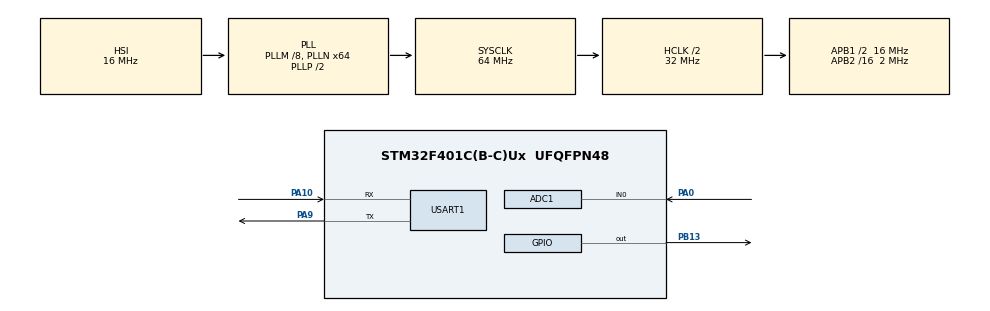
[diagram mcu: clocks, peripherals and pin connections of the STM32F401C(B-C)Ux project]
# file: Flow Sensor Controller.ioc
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ADC1.Channel-3\#ChannelRegularConversion=ADC_CHANNEL_0
ADC1.ContinuousConvMode=ENABLE
ADC1.DMAContinuousRequests=ENABLE
ADC1.NbrOfConversionFlag=1
ADC1.Rank-3\#ChannelRegularConversion=1
ADC1.SamplingTime-3\#ChannelRegularConversion=ADC_SAMPLETIME_28CYCLES
ADC1.master=1
Dma.ADC1.0.Direction=DMA_PERIPH_TO_MEMORY
Dma.ADC1.0.FIFOMode=DMA_FIFOMODE_DISABLE
Dma.ADC1.0.Instance=DMA2_Stream0
Dma.ADC1.0.MemDataAlignment=DMA_MDATAALIGN_WORD
Dma.ADC1.0.MemInc=DMA_MINC_ENABLE
Dma.ADC1.0.Mode=DMA_CIRCULAR
Dma.ADC1.0.PeriphDataAlignment=DMA_PDATAALIGN_WORD
Dma.ADC1.0.PeriphInc=DMA_PINC_DISABLE
Dma.ADC1.0.Priority=DMA_PRIORITY_LOW
Dma.Request0=ADC1
Mcu.Family=STM32F4
Mcu.Name=STM32F401C(B-C)Ux
Mcu.Package=UFQFPN48
NVIC.ADC_IRQn=true\:0\:0\:false\:false\:true\:true\:true\:true
NVIC.DMA2_Stream0_IRQn=true\:0\:0\:false\:false\:true\:false\:true\:true
NVIC.PriorityGroup=NVIC_PRIORITYGROUP_4
PA0-WKUP.Signal=ADCx_IN0
PA10.Mode=Asynchronous
PA10.Signal=USART1_RX
PA13.Mode=Serial_Wire
PA13.Signal=SYS_JTMS-SWDIO
PA14.Mode=Serial_Wire
PA14.Signal=SYS_JTCK-SWCLK
PA9.Mode=Asynchronous
PA9.Signal=USART1_TX
PB13.Signal=GPIO_Output
PH0\ -\ OSC_IN.Mode=HSE-External-Oscillator
PH0\ -\ OSC_IN.Signal=RCC_OSC_IN
PH1\ -\ OSC_OUT.Mode=HSE-External-Oscillator
PH1\ -\ OSC_OUT.Signal=RCC_OSC_OUT
ProjectManager.HeapSize=0x200
ProjectManager.StackSize=0x400
ProjectManager.TargetToolchain=STM32CubeIDE
RCC.48MHZClocksFreq_Value=32000000
RCC.AHBCLKDivider=RCC_SYSCLK_DIV2
RCC.AHBFreq_Value=32000000
RCC.APB1CLKDivider=RCC_HCLK_DIV2
RCC.APB1Freq_Value=16000000
RCC.APB1TimFreq_Value=32000000
RCC.APB2CLKDivider=RCC_HCLK_DIV16
RCC.APB2Freq_Value=2000000
RCC.APB2TimFreq_Value=4000000
RCC.CortexFreq_Value=32000000
RCC.HCLKFreq_Value=32000000
RCC.HSE_VALUE=25000000
RCC.HSI_VALUE=16000000
RCC.LSE_VALUE=32768
RCC.PLLM=8
RCC.PLLN=64
RCC.SYSCLKFreq_VALUE=64000000
RCC.SYSCLKSource=RCC_SYSCLKSOURCE_PLLCLK
RCC.VCOOutputFreq_Value=128000000
SH.ADCx_IN0.0=ADC1_IN0,IN0
USART1.VirtualMode=VM_ASYNC
board=custom

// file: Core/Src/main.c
/* USER CODE BEGIN Header */

/* ----------------------------------------------------------------------
* Copyright (C) 2010-2012 ARM Limited. All rights reserved.
*
* $Date:         17. January 2013
* $Revision:     V1.4.0
*
* Project:       CMSIS DSP Library
* Title:	     arm_fft_bin_example_f32.c
*
* Description:   Example code demonstrating calculation of Max energy bin of
*                frequency domain of input signal.
*
* Target Processor: Cortex-M4/Cortex-M3
*
* Redistribution and use in source and binary forms, with or without
* modification, are permitted provided that the following conditions
* are met:
*   - Redistributions of source code must retain the above copyright
*     notice, this list of conditions and the following disclaimer.
*   - Redistributions in binary form must reproduce the above copyright
*     notice, this list of conditions and the following disclaimer in
*     the documentation and/or other materials provided with the
*     distribution.
*   - Neither the name of ARM LIMITED nor the names of its contributors
*     may be used to endorse or promote products derived from this
*     software without specific prior written permission.
*
* THIS SOFTWARE IS PROVIDED BY THE COPYRIGHT HOLDERS AND CONTRIBUTORS
* "AS IS" AND ANY EXPRESS OR IMPLIED WARRANTIES, INCLUDING, BUT NOT
* LIMITED TO, THE IMPLIED WARRANTIES OF MERCHANTABILITY AND FITNESS
* FOR A PARTICULAR PURPOSE ARE DISCLAIMED. IN NO EVENT SHALL THE
* COPYRIGHT OWNER OR CONTRIBUTORS BE LIABLE FOR ANY DIRECT, INDIRECT,
* INCIDENTAL, SPECIAL, EXEMPLARY, OR CONSEQUENTIAL DAMAGES (INCLUDING,
* BUT NOT LIMITED TO, PROCUREMENT OF SUBSTITUTE GOODS OR SERVICES;
* LOSS OF USE, DATA, OR PROFITS; OR BUSINESS INTERRUPTION) HOWEVER
* CAUSED AND ON ANY THEORY OF LIABILITY, WHETHER IN CONTRACT, STRICT
* LIABILITY, OR TORT (INCLUDING NEGLIGENCE OR OTHERWISE) ARISING IN
* ANY WAY OUT OF THE USE OF THIS SOFTWARE, EVEN IF ADVISED OF THE
* POSSIBILITY OF SUCH DAMAGE.
 * -------------------------------------------------------------------- */

/**
  ******************************************************************************
  * @file           : main.c
  * @brief          : Main program body
  ******************************************************************************
  * @attention
  *
  * <h2><center>&copy; Copyright (c) 2022 STMicroelectronics.
  * All rights reserved.</center></h2>
  *
  * This software component is licensed by ST under BSD 3-Clause license,
  * the "License"; You may not use this file except in compliance with the
  * License. You may obtain a copy of the License at:
  *                        opensource.org/licenses/BSD-3-Clause
  *
  ******************************************************************************
  */

/**
 * @ingroup groupExamples
 */

/**
 * @defgroup FrequencyBin Frequency Bin Example
 *
 * \par Description
 * \par
 * Demonstrates the calculation of the maximum energy bin in the frequency
 * domain of the input signal with the use of Complex FFT, Complex
 * Magnitude, and Maximum functions.
 *
 * \par Algorithm:
 * \par
 * The input test signal contains a 10 kHz signal with uniformly distributed white noise.
 * Calculating the FFT of the input signal will give us the maximum energy of the
 * bin corresponding to the input frequency of 10 kHz.
 *
 * \par Block Diagram:
 * \image html FFTBin.gif "Block Diagram"
 * \par
 * The figure below shows the time domain signal of 10 kHz signal with
 * uniformly distributed white noise, and the next figure shows the input
 * in the frequency domain. The bin with maximum energy corresponds to 10 kHz signal.
 * \par
 * \image html FFTBinInput.gif "Input signal in Time domain"
 * \image html FFTBinOutput.gif "Input signal in Frequency domain"
 *
 * \par Variables Description:
 * \par
 * \li \c testInput_f32_10khz points to the input data
 * \li \c testOutput points to the output data
 * \li \c fftSize length of FFT
 * \li \c ifftFlag flag for the selection of CFFT/CIFFT
 * \li \c doBitReverse Flag for selection of normal order or bit reversed order
 * \li \c refIndex reference index value at which maximum energy of bin ocuurs
 * \li \c testIndex calculated index value at which maximum energy of bin ocuurs
 *
 * \par CMSIS DSP Software Library Functions Used:
 * \par
 * - arm_cfft_f32()
 * - arm_cmplx_mag_f32()
 * - arm_max_f32()
 *
 * <b> Refer  </b>
 * \link arm_fft_bin_example_f32.c \endlink
 *
 */
/* USER CODE END Header */
#include "main.h"
#include "adc.h"
#include "dma.h"
#include "usart.h"
#include "gpio.h"

/* USER CODE BEGIN Includes */
#include "arm_math.h"
#include "arm_const_structs.h"
#include <stdio.h>

#if defined(SEMIHOSTING)
#include <stdio.h>
#endif

/* USER CODE END Includes */

/* USER CODE BEGIN PD */
#define TEST_LENGTH_SAMPLES 2048
/* USER CODE END PD */

/* USER CODE BEGIN PV */
uint32_t adc_buf[2048];

extern float32_t testInput_f32_10khz[TEST_LENGTH_SAMPLES];
extern float32_t fftInput_f32_adc1[TEST_LENGTH_SAMPLES];
//static float32_t testOutput[TEST_LENGTH_SAMPLES/2];
static float32_t complexFFT[TEST_LENGTH_SAMPLES], realFFT[TEST_LENGTH_SAMPLES/2],
		imagFFT[TEST_LENGTH_SAMPLES/2], angleFFT[TEST_LENGTH_SAMPLES/2],
		powerFFT[TEST_LENGTH_SAMPLES/2], magFFT[TEST_LENGTH_SAMPLES/2];

//Global variables for FFT Bin Example
uint32_t fftSize = TEST_LENGTH_SAMPLES;
uint32_t ifftFlag = 0;
arm_rfft_fast_instance_f32 S;
uint32_t maxIndex = 0;
arm_status status;
float32_t maxValue;
int i;
uint8_t txDone = 1;

/* -------------------------------------------------------------------
* External Input and Output buffer Declarations for FFT Bin Example
* ------------------------------------------------------------------- */
extern float32_t testInput_f32_10khz[TEST_LENGTH_SAMPLES];
static float32_t testOutput[TEST_LENGTH_SAMPLES/2];

float32_t fftInput_f32_adc1[TEST_LENGTH_SAMPLES];
static float32_t fftOutput[TEST_LENGTH_SAMPLES/2];

/* USER CODE END PV */

void SystemClock_Config(void);

int main(void)
{

  /* MCU Configuration--------------------------------------------------------*/

  /* Reset of all peripherals, Initializes the Flash interface and the Systick. */
  HAL_Init();

  /* USER CODE BEGIN Init */
  MX_USART1_UART_Init();
  /* USER CODE END Init */

  /* Configure the system clock */
  SystemClock_Config();

  /* Initialize all configured peripherals */
  MX_GPIO_Init();
  MX_USART1_UART_Init();
  MX_DMA_Init();
  MX_ADC1_Init();
  /* USER CODE BEGIN 2 */
  HAL_ADC_Start_DMA(&hadc1, (uint32_t*)adc_buf, 2048);
  /* USER CODE END 2 */

  /* Infinite loop */
  while (1)
  {

    /* USER CODE BEGIN 3 */
	  if (txDone == 0) {
		  for (int i=0;i<(TEST_LENGTH_SAMPLES/2);i++) {
			  char uart_buf[100] = {0};
			  int uart_buf_len;

			  uart_buf_len = sprintf(uart_buf, "%f,", magFFT[i] );
			  HAL_UART_Transmit(&huart1, (uint8_t *)uart_buf, uart_buf_len, 100);
		  }
		  HAL_UART_Transmit(&huart1, "\n", 5, 100);
		  HAL_Delay(1000);
		  txDone = 1;
	  }

  }
  /* USER CODE END 3 */
}

void SystemClock_Config(void)
{
  RCC_OscInitTypeDef RCC_OscInitStruct = {0};
  RCC_ClkInitTypeDef RCC_ClkInitStruct = {0};

  /** Configure the main internal regulator output voltage
  */
  __HAL_RCC_PWR_CLK_ENABLE();
  __HAL_PWR_VOLTAGESCALING_CONFIG(PWR_REGULATOR_VOLTAGE_SCALE2);

  /** Initializes the RCC Oscillators according to the specified parameters
  * in the RCC_OscInitTypeDef structure.
  */
  RCC_OscInitStruct.OscillatorType = RCC_OSCILLATORTYPE_HSI;
  RCC_OscInitStruct.HSIState = RCC_HSI_ON;
  RCC_OscInitStruct.HSICalibrationValue = RCC_HSICALIBRATION_DEFAULT;
  RCC_OscInitStruct.PLL.PLLState = RCC_PLL_ON;
  RCC_OscInitStruct.PLL.PLLSource = RCC_PLLSOURCE_HSI;
  RCC_OscInitStruct.PLL.PLLM = 8;
  RCC_OscInitStruct.PLL.PLLN = 64;
  RCC_OscInitStruct.PLL.PLLP = RCC_PLLP_DIV2;
  RCC_OscInitStruct.PLL.PLLQ = 4;
  if (HAL_RCC_OscConfig(&RCC_OscInitStruct) != HAL_OK)
  {
    Error_Handler();
  }

  /** Initializes the CPU, AHB and APB buses clocks
  */
  RCC_ClkInitStruct.ClockType = RCC_CLOCKTYPE_HCLK|RCC_CLOCKTYPE_SYSCLK
                              |RCC_CLOCKTYPE_PCLK1|RCC_CLOCKTYPE_PCLK2;
  RCC_ClkInitStruct.SYSCLKSource = RCC_SYSCLKSOURCE_PLLCLK;
  RCC_ClkInitStruct.AHBCLKDivider = RCC_SYSCLK_DIV2;
  RCC_ClkInitStruct.APB1CLKDivider = RCC_HCLK_DIV2;
  RCC_ClkInitStruct.APB2CLKDivider = RCC_HCLK_DIV16;

  if (HAL_RCC_ClockConfig(&RCC_ClkInitStruct, FLASH_LATENCY_1) != HAL_OK)
  {
    Error_Handler();
  }
}

/* USER CODE BEGIN 4 */
void HAL_ADC_ConvCpltCallback(ADC_HandleTypeDef* hadc)
{
	if (txDone == 1) {
		for (int i = 0; i < 2048; ++i) {
			fftInput_f32_adc1[i] = adc_buf[i]/ 1000.0f;
		}

		  status = ARM_MATH_SUCCESS;
		  status = arm_rfft_fast_init_f32(&S, fftSize);
	//	  // input is real, output is interleaved real and complex
		  arm_rfft_fast_f32(&S, fftInput_f32_adc1, complexFFT, ifftFlag);
		  arm_cmplx_mag_f32(complexFFT, magFFT, TEST_LENGTH_SAMPLES/2);
		  arm_max_f32(&magFFT[1], (TEST_LENGTH_SAMPLES/2) - 1, &maxValue, &maxIndex);
	//	  correct index
		  maxIndex += 1;
		  txDone = 0;
	}
//	for (int i = 0; i < 2048; ++i) {
//		fftInput_f32_adc1[i] = adc_buf[i]/ 1000.0f;
//	}
//
//	  status = ARM_MATH_SUCCESS;
//	  status = arm_rfft_fast_init_f32(&S, fftSize);
////	  // input is real, output is interleaved real and complex
//	  arm_rfft_fast_f32(&S, fftInput_f32_adc1, complexFFT, ifftFlag);
//
//	  // first entry is all real DC offset
//	  float32_t DCoffset = complexFFT[0];
//
//	  // de-interleave real and complex values
//	  for (i = 0; i < (TEST_LENGTH_SAMPLES / 2) - 1; i++) {
//		realFFT[i] = complexFFT[i * 2];
//		imagFFT[i] = complexFFT[(i * 2) + 1];
//	  }
//
//	  // find angle of FFT
//	  for (i = 0; i < TEST_LENGTH_SAMPLES / 2; i++) {
//		angleFFT[i] = atan2f(imagFFT[i], realFFT[i]);
//	  }
//		// compute power
//		arm_cmplx_mag_squared_f32(complexFFT, powerFFT, TEST_LENGTH_SAMPLES/2);
//		arm_cmplx_mag_f32(complexFFT, magFFT, TEST_LENGTH_SAMPLES/2);
//		arm_max_f32(&magFFT[1], (TEST_LENGTH_SAMPLES/2) - 1, &maxValue, &maxIndex);
////		// correct index
//		maxIndex += 1;
//
//	  HAL_Delay(10);
//
//	  char start_buf[100] = {0};
//	  int start_buf_len;
//
//	  start_buf_len = sprintf(start_buf, "xHz Harmonic, Frequency");
//	  HAL_UART_Transmit(&huart1, (uint8_t *)start_buf, start_buf_len, 100);
//	  HAL_Delay(500);
//
//	  for (int i=0;i<(TEST_LENGTH_SAMPLES/2);i++) {
//		  char uart_buf[100] = {0};
//		  int uart_buf_len;
//
//		  uart_buf_len = sprintf(uart_buf, "%i , %f ", i, magFFT[i] );
//		  HAL_UART_Transmit(&huart1, (uint8_t *)uart_buf, uart_buf_len, 100);
//		  HAL_Delay(500);
//	  }
}
/* USER CODE END 4 */

void Error_Handler(void)
{
  __disable_irq();
  while (1)
  {
  }
}
